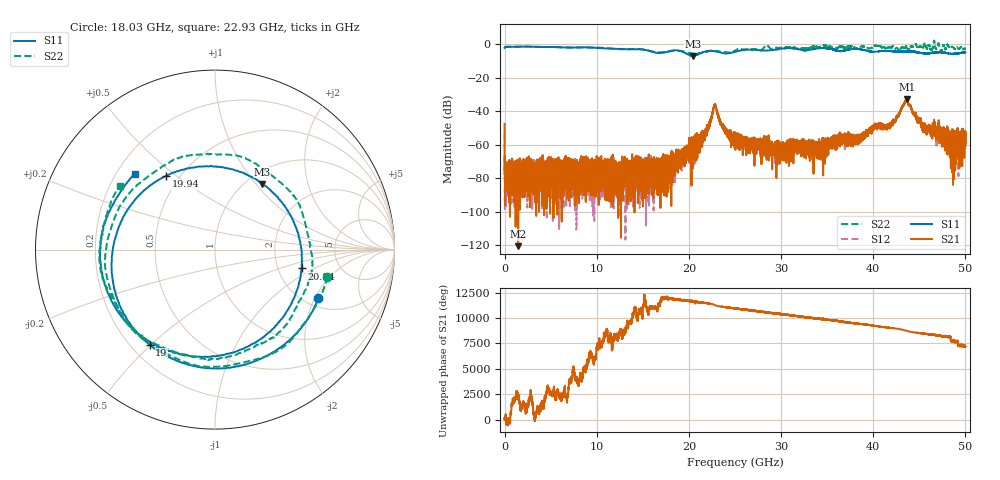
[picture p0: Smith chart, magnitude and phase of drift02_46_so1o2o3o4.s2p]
!Created with skrf (http://scikit-rf.org).
# Hz S RI R 50.0
!freq ReS11 ImS11 ReS21 ImS21 ReS12 ImS12 ReS22 ImS22
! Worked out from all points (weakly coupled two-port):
!   10001 points, 300 kHz to 50 GHz, reference 50 ohm
!   highest |S21| = -32.63 dB at 43.65 GHz (marker M1); lowest = -120.5 dB at 1.475 GHz (marker M2)
!   lowest |S11| = -6.9 dB at 20.44 GHz (marker M3), VSWR 2.64, Z = 58.9 + j53.9 ohm
!   |S11| at or under -10 dB: nowhere
!   |S22| runs from -5.7 to 2.3 dB; largest |S21 - S12| = 0.0036
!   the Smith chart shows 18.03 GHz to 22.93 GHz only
!   S11 on the Smith chart (normalised r, x): 18.03 GHz: 2.35, -2.14; 19 GHz: 0.27, -0.50; 19.94 GHz: 0.42, +0.46; 20.94 GHz: 2.71, -0.75; 22.93 GHz: 0.27, +0.37
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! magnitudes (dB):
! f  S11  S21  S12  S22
! 300 kHz  -2.1  -47.5  -53.5  -2.1
! 255.3 MHz  -1.4  -77.8  -75.8  -1.4
! 1.475 GHz  -1.4  -120.5  -82.7  -1.4
! 8.335 GHz  -1.7  -69.1  -77.6  -1.9
! 16.67 GHz  -5.2  -76.2  -79.5  -4.7
! 18.03 GHz  -3.9  -74.6  -72.4  -3.9
! 19 GHz  -3.8  -70.1  -66.3  -3.9
! 19.94 GHz  -6.2  -64.7  -63.5  -5.2
! 20.44 GHz  -6.9  -63.8  -64.9  -5.4
! 20.94 GHz  -6.1  -62.0  -60.4  -5.6
! 22.93 GHz  -4.2  -37.3  -37.3  -3.9
! 23.84 GHz  -5.4  -50.8  -50.5  -4.6
! 25 GHz  -4.5  -54.3  -55.8  -3.9
! 30.02 GHz  -2.6  -61.1  -61.8  -2.0
! 33.34 GHz  -3.0  -59.6  -61.5  -1.6
! 38.38 GHz  -2.8  -58.5  -55.6  -2.1
! 40.31 GHz  -4.4  -48.6  -48.7  -0.8
! 41.67 GHz  -4.0  -48.5  -47.9  -1.9
! 43.65 GHz  -4.4  -32.6  -33.4  -1.8
! 45.66 GHz  -5.5  -48.3  -48.9  -0.3
! 49.48 GHz  -5.2  -55.4  -56.2  -1.7
! 50 GHz  -4.7  -58.8  -54.3  -2.6
